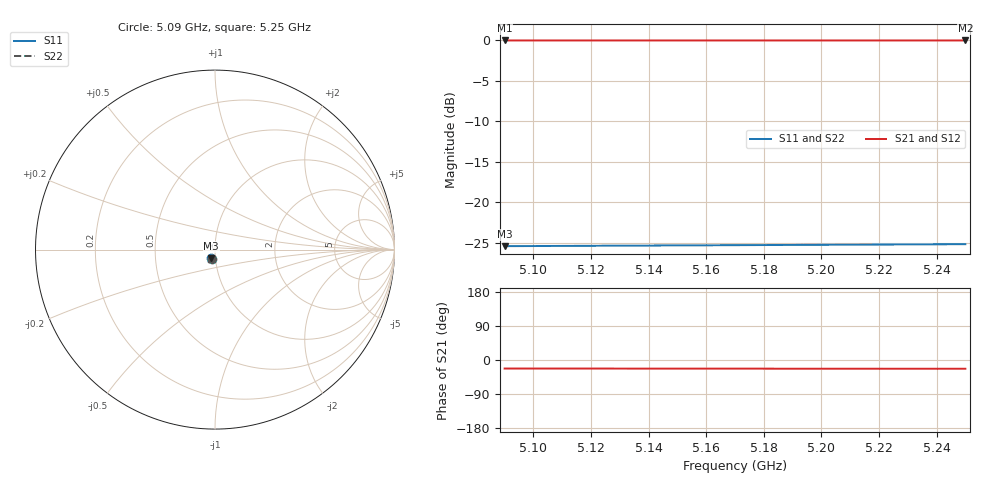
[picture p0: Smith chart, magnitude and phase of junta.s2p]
! Touchstone file exported from HFSS 2024.2.0
!  File:  D:/dev/EMBRAER/P1H/Transicao_Cabo_P1H/Junta_UT141_P1H.aedt
!  Generated:  12:32:23 PM Nov  6, 2026
!  Design:  Junta_coaxial
!  Project:  Junta_UT141_P1H
!  Setup:  Junta
!  Solution:  Banda
# GHz S RI R 50.000000
! Terminal data exported
! Port[1] = CABO
! Port[2] = P1H
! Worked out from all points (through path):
!   9 points, 5.09 GHz to 5.25 GHz, reference 50 ohm
!   highest |S21| = -0.02 dB at 5.09 GHz (marker M1); lowest = 0.0 dB at 5.25 GHz (marker M2)
!   lowest |S11| = -25.4 dB at 5.09 GHz (marker M3), VSWR 1.11, Z = 47.7 - j4.68 ohm
!   |S11| at or under -10 dB: start of sweep to end of sweep
!   |S22| runs from -25.4 to -25.2 dB; largest |S21 - S12| = 1e-15
5.09  -0.0216 -0.049  0.9224 -0.3815  0.9224 -0.3815  -0.0187 -0.0501
! Gamma 0 0 0 0
! Port Impedance 50 0 50 0
5.11  -0.0218 -0.0491  0.9218 -0.3829  0.9218 -0.3829  -0.0188 -0.0503
5.13  -0.022 -0.0492  0.9212 -0.3843  0.9212 -0.3843  -0.0189 -0.0504
5.15  -0.0221 -0.0494  0.9206 -0.3857  0.9206 -0.3857  -0.0191 -0.0506
5.17  -0.0223 -0.0495  0.92 -0.3871  0.92 -0.3871  -0.0192 -0.0507
5.19  -0.0224 -0.0497  0.9194 -0.3885  0.9194 -0.3885  -0.0194 -0.0509
5.21  -0.0226 -0.0498  0.9188 -0.39  0.9188 -0.39  -0.0195 -0.051
5.23  -0.0228 -0.0499  0.9182 -0.3914  0.9182 -0.3914  -0.0196 -0.0512
5.25  -0.0229 -0.0501  0.9175 -0.3928  0.9175 -0.3928  -0.0198 -0.0513
